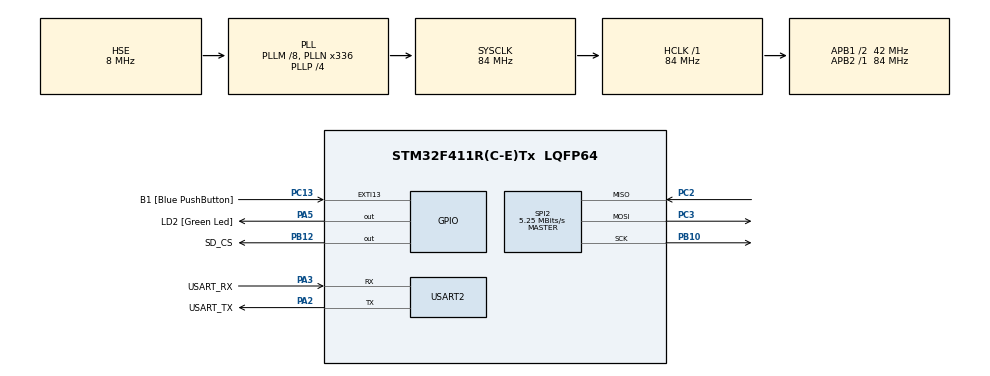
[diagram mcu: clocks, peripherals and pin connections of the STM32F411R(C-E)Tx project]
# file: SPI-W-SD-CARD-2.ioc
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FATFS._MAX_SS=4096
FATFS._USE_LFN=1
Mcu.Family=STM32F4
Mcu.Name=STM32F411R(C-E)Tx
Mcu.Package=LQFP64
NVIC.PriorityGroup=NVIC_PRIORITYGROUP_0
PA13.GPIO_Label=TMS
PA13.Mode=Serial_Wire
PA13.Signal=SYS_JTMS-SWDIO
PA14.GPIO_Label=TCK
PA14.Mode=Serial_Wire
PA14.Signal=SYS_JTCK-SWCLK
PA2.GPIO_Label=USART_TX
PA2.Mode=Asynchronous
PA2.Signal=USART2_TX
PA3.GPIO_Label=USART_RX
PA3.Mode=Asynchronous
PA3.Signal=USART2_RX
PA5.GPIO_Label=LD2 [Green Led]
PA5.Signal=GPIO_Output
PB10.Mode=Full_Duplex_Master
PB10.Signal=SPI2_SCK
PB12.GPIO_Label=SD_CS
PB12.Signal=GPIO_Output
PB3.GPIO_Label=SWO
PB3.Signal=SYS_JTDO-SWO
PC13-ANTI_TAMP.GPIO_Label=B1 [Blue PushButton]
PC13-ANTI_TAMP.GPIO_ModeDefaultEXTI=GPIO_MODE_IT_FALLING
PC13-ANTI_TAMP.Signal=GPXTI13
PC14-OSC32_IN.Mode=LSE-External-Oscillator
PC14-OSC32_IN.Signal=RCC_OSC32_IN
PC15-OSC32_OUT.Mode=LSE-External-Oscillator
PC15-OSC32_OUT.Signal=RCC_OSC32_OUT
PC2.Mode=Full_Duplex_Master
PC2.Signal=SPI2_MISO
PC3.Mode=Full_Duplex_Master
PC3.Signal=SPI2_MOSI
PH0\ -\ OSC_IN.Mode=HSE-External-Oscillator
PH0\ -\ OSC_IN.Signal=RCC_OSC_IN
PH1\ -\ OSC_OUT.Mode=HSE-External-Oscillator
PH1\ -\ OSC_OUT.Signal=RCC_OSC_OUT
ProjectManager.HeapSize=0x200
ProjectManager.StackSize=0x400
ProjectManager.TargetToolchain=STM32CubeIDE
RCC.48MHZClocksFreq_Value=84000000
RCC.AHBFreq_Value=84000000
RCC.APB1CLKDivider=RCC_HCLK_DIV2
RCC.APB1Freq_Value=42000000
RCC.APB1TimFreq_Value=84000000
RCC.APB2Freq_Value=84000000
RCC.APB2TimFreq_Value=84000000
RCC.CortexFreq_Value=84000000
RCC.FLatency-AdvancedSettings=FLASH_LATENCY_2
RCC.HCLKFreq_Value=84000000
RCC.HSE_VALUE=8000000
RCC.HSI_VALUE=16000000
RCC.PLLM=8
RCC.PLLN=336
RCC.PLLP=RCC_PLLP_DIV4
RCC.PLLSourceVirtual=RCC_PLLSOURCE_HSE
RCC.SYSCLKFreq_VALUE=84000000
RCC.SYSCLKSource=RCC_SYSCLKSOURCE_PLLCLK
RCC.VCOOutputFreq_Value=336000000
SPI2.BaudRatePrescaler=SPI_BAUDRATEPRESCALER_8
SPI2.CalculateBaudRate=5.25 MBits/s
SPI2.Direction=SPI_DIRECTION_2LINES
SPI2.Mode=SPI_MODE_MASTER
SPI2.VirtualType=VM_MASTER
USART2.VirtualMode=VM_ASYNC
VP_FATFS_VS_Generic.Mode=User_defined
board=NUCLEO-F411RE

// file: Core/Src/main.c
/* USER CODE BEGIN Header */
/**
  ******************************************************************************
  * @file           : main.c
  * @brief          : Main program body
  ******************************************************************************
  * @attention
  *
  * Copyright (c) 2024 STMicroelectronics.
  * All rights reserved.
  *
  * This software is licensed under terms that can be found in the LICENSE file
  * in the root directory of this software component.
  * If no LICENSE file comes with this software, it is provided AS-IS.
  *
  ******************************************************************************
  */
/* USER CODE END Header */
#include "main.h"
#include "fatfs.h"

/* USER CODE BEGIN Includes */
#include "string.h"
#include "fatfs_sd.h"
/* USER CODE END Includes */

SPI_HandleTypeDef hspi2;

UART_HandleTypeDef huart2;

void SystemClock_Config(void);
static void MX_GPIO_Init(void);
static void MX_USART2_UART_Init(void);
static void MX_SPI2_Init(void);

/* USER CODE BEGIN 0 */
FATFS fs; //file system
FIL fil; //file
FRESULT fresult; ////to file the result
char buffer[1024]; //to store data

UINT br, bw; //to decide whether to write or read the file

/* these are variables based on capacity */

FATFS *pfs;
DWORD fre_clust;
uint32_t total, free_space;

/* to send data to UART */
void send_uart(char* string) {
	uint8_t len = strlen(string);
	HAL_UART_Transmit(&huart2, (uint8_t *) string, len, 2000); //transmit in blocking mode
}

//to find the size of data in the buffer
int bufsize(char* buf) {
	int i = 0;
	while(*buf++ != '\0') i++;
	return i;
}

//to clear the buffer
void bufclear(void) {
	for(int i= 0; i<1024;i++) {
		buffer[i] = '\0';
	}
}

/* USER CODE END 0 */

int main(void)
{

  /* MCU Configuration--------------------------------------------------------*/

  /* Reset of all peripherals, Initializes the Flash interface and the Systick. */
  HAL_Init();

  /* Configure the system clock */
  SystemClock_Config();

  /* Initialize all configured peripherals */
  MX_GPIO_Init();
  MX_USART2_UART_Init();
  MX_SPI2_Init();
  MX_FATFS_Init();
  /* USER CODE BEGIN 2 */

  //mounting SD card
  fresult = f_mount(&fs, "/", 1);
  if (fresult != FR_OK) send_uart ("ERROR in mounting SD CARD...\n\n");
  else send_uart("SD CARD mounted successfully...\n\n");

  //checking card capacity:
  f_getfree("", &fre_clust, &pfs);

  total = (uint32_t)((pfs->n_fatent - 2) * pfs->csize * 0.5);
  sprintf(buffer, "SD card total size: %lu\n", total);
  send_uart(buffer);
  bufclear();
  free_space = (uint32_t)(fre_clust * pfs->csize * 0.5);
  sprintf(buffer,"SD card total size: %lu\n", free_space);

  /* Create a file with read write access and open it */
  fresult = f_open(&fil, "file1.txt", FA_OPEN_ALWAYS | FA_WRITE | FA_READ);
  //writing text in it
  fresult = f_puts("This is the first file, testing.\n", &fil);

  //close file
  fresult = f_close(&fil);
  send_uart("First file file1.txt has been created and has data in it.\n");
  //open file to read
  fresult = f_open(&fil, "file1.txt", FA_READ);
  //read string from file
  f_gets(buffer, sizeof(buffer), &fil);
  send_uart(buffer);
  //close file
  fresult = f_close(&fil);
  bufclear();

  /* Create second file with read write access and open it */
  fresult = f_open(&fil, "file2.txt", FA_OPEN_ALWAYS | FA_WRITE | FA_READ);
  /* Writing text */
  strcpy (buffer, "This is File2.txt, written using f_write. Hallo!\n");

  fresult = f_write(&fil, buffer, bufsize(buffer), &bw); //bw is from the pointer to the counter
  //so it'll override any data already within the file
  send_uart("File2.txt has been created and has data on it.\n");

  /* Close file */
  f_close(&fil);
  bufclear();

  fresult = f_open(&fil, "file2.txt", FA_READ);
  fresult = f_read(&fil,buffer,sizeof(buffer), FA_READ);
  send_uart(buffer);
  f_close(&fil);
  bufclear();

  fresult = f_unlink("/file2.txt");
  if (fresult == FR_OK) send_uart("file2.txt removed successfully...\n");

  /* Unmount SDCARD */
  fresult = f_mount(NULL, "/", 1);
  if (fresult == FR_OK) send_uart ("SD CARD UNMOUNTED successfully...\n");

  /* USER CODE END 2 */

  /* Infinite loop */
  while (1)
  {

  }
}

void SystemClock_Config(void)
{
  RCC_OscInitTypeDef RCC_OscInitStruct = {0};
  RCC_ClkInitTypeDef RCC_ClkInitStruct = {0};

  /** Configure the main internal regulator output voltage
  */
  __HAL_RCC_PWR_CLK_ENABLE();
  __HAL_PWR_VOLTAGESCALING_CONFIG(PWR_REGULATOR_VOLTAGE_SCALE1);

  /** Initializes the RCC Oscillators according to the specified parameters
  * in the RCC_OscInitTypeDef structure.
  */
  RCC_OscInitStruct.OscillatorType = RCC_OSCILLATORTYPE_HSE;
  RCC_OscInitStruct.HSEState = RCC_HSE_ON;
  RCC_OscInitStruct.PLL.PLLState = RCC_PLL_ON;
  RCC_OscInitStruct.PLL.PLLSource = RCC_PLLSOURCE_HSE;
  RCC_OscInitStruct.PLL.PLLM = 8;
  RCC_OscInitStruct.PLL.PLLN = 336;
  RCC_OscInitStruct.PLL.PLLP = RCC_PLLP_DIV4;
  RCC_OscInitStruct.PLL.PLLQ = 4;
  if (HAL_RCC_OscConfig(&RCC_OscInitStruct) != HAL_OK)
  {
    Error_Handler();
  }

  /** Initializes the CPU, AHB and APB buses clocks
  */
  RCC_ClkInitStruct.ClockType = RCC_CLOCKTYPE_HCLK|RCC_CLOCKTYPE_SYSCLK
                              |RCC_CLOCKTYPE_PCLK1|RCC_CLOCKTYPE_PCLK2;
  RCC_ClkInitStruct.SYSCLKSource = RCC_SYSCLKSOURCE_PLLCLK;
  RCC_ClkInitStruct.AHBCLKDivider = RCC_SYSCLK_DIV1;
  RCC_ClkInitStruct.APB1CLKDivider = RCC_HCLK_DIV2;
  RCC_ClkInitStruct.APB2CLKDivider = RCC_HCLK_DIV1;

  if (HAL_RCC_ClockConfig(&RCC_ClkInitStruct, FLASH_LATENCY_2) != HAL_OK)
  {
    Error_Handler();
  }
}

static void MX_SPI2_Init(void)
{

  /* SPI2 parameter configuration*/
  hspi2.Instance = SPI2;
  hspi2.Init.Mode = SPI_MODE_MASTER;
  hspi2.Init.Direction = SPI_DIRECTION_2LINES;
  hspi2.Init.DataSize = SPI_DATASIZE_8BIT;
  hspi2.Init.CLKPolarity = SPI_POLARITY_LOW;
  hspi2.Init.CLKPhase = SPI_PHASE_1EDGE;
  hspi2.Init.NSS = SPI_NSS_SOFT;
  hspi2.Init.BaudRatePrescaler = SPI_BAUDRATEPRESCALER_8;
  hspi2.Init.FirstBit = SPI_FIRSTBIT_MSB;
  hspi2.Init.TIMode = SPI_TIMODE_DISABLE;
  hspi2.Init.CRCCalculation = SPI_CRCCALCULATION_DISABLE;
  hspi2.Init.CRCPolynomial = 10;
  if (HAL_SPI_Init(&hspi2) != HAL_OK)
  {
    Error_Handler();
  }

}

static void MX_USART2_UART_Init(void)
{

  huart2.Instance = USART2;
  huart2.Init.BaudRate = 115200;
  huart2.Init.WordLength = UART_WORDLENGTH_8B;
  huart2.Init.StopBits = UART_STOPBITS_1;
  huart2.Init.Parity = UART_PARITY_NONE;
  huart2.Init.Mode = UART_MODE_TX_RX;
  huart2.Init.HwFlowCtl = UART_HWCONTROL_NONE;
  huart2.Init.OverSampling = UART_OVERSAMPLING_16;
  if (HAL_UART_Init(&huart2) != HAL_OK)
  {
    Error_Handler();
  }

}

static void MX_GPIO_Init(void)
{
  GPIO_InitTypeDef GPIO_InitStruct = {0};

  /* GPIO Ports Clock Enable */
  __HAL_RCC_GPIOC_CLK_ENABLE();
  __HAL_RCC_GPIOH_CLK_ENABLE();
  __HAL_RCC_GPIOA_CLK_ENABLE();
  __HAL_RCC_GPIOB_CLK_ENABLE();

  /*Configure GPIO pin Output Level */
  HAL_GPIO_WritePin(LD2_GPIO_Port, LD2_Pin, GPIO_PIN_RESET);

  /*Configure GPIO pin Output Level */
  HAL_GPIO_WritePin(SD_CS_GPIO_Port, SD_CS_Pin, GPIO_PIN_RESET);

  /*Configure GPIO pin : B1_Pin */
  GPIO_InitStruct.Pin = B1_Pin;
  GPIO_InitStruct.Mode = GPIO_MODE_IT_FALLING;
  GPIO_InitStruct.Pull = GPIO_NOPULL;
  HAL_GPIO_Init(B1_GPIO_Port, &GPIO_InitStruct);

  /*Configure GPIO pin : LD2_Pin */
  GPIO_InitStruct.Pin = LD2_Pin;
  GPIO_InitStruct.Mode = GPIO_MODE_OUTPUT_PP;
  GPIO_InitStruct.Pull = GPIO_NOPULL;
  GPIO_InitStruct.Speed = GPIO_SPEED_FREQ_LOW;
  HAL_GPIO_Init(LD2_GPIO_Port, &GPIO_InitStruct);

  /*Configure GPIO pin : SD_CS_Pin */
  GPIO_InitStruct.Pin = SD_CS_Pin;
  GPIO_InitStruct.Mode = GPIO_MODE_OUTPUT_PP;
  GPIO_InitStruct.Pull = GPIO_NOPULL;
  GPIO_InitStruct.Speed = GPIO_SPEED_FREQ_LOW;
  HAL_GPIO_Init(SD_CS_GPIO_Port, &GPIO_InitStruct);

}

void Error_Handler(void)
{
  __disable_irq();
  while (1)
  {
  }
}
